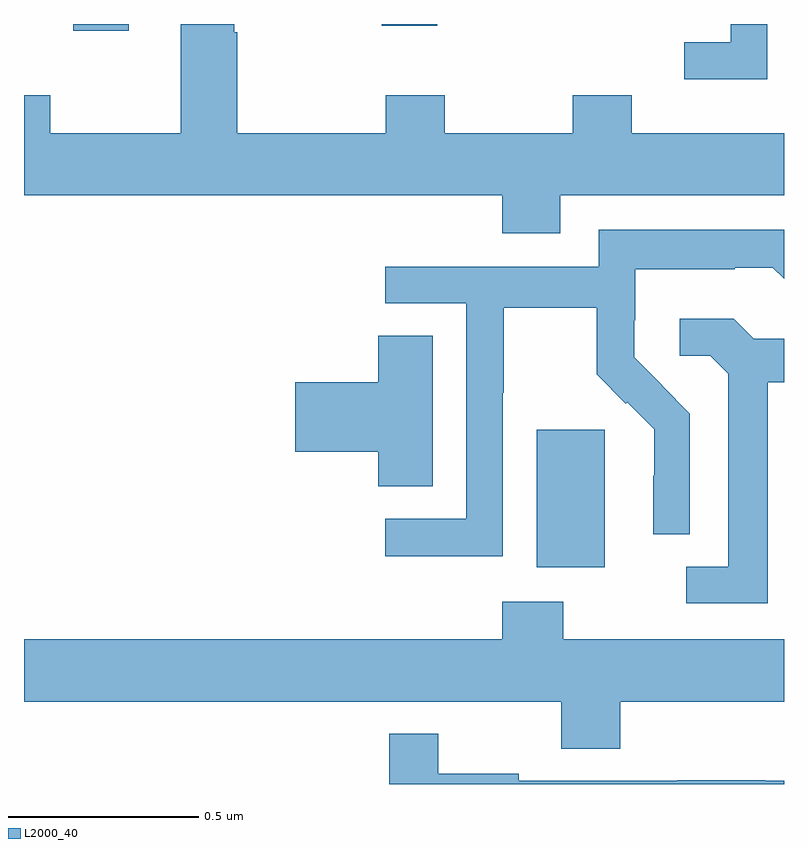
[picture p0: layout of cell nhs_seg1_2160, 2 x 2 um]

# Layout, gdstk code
import gdstk
lib = gdstk.Library(unit=1e-6, precision=1e-09)
def R(c, l, rs):  # rectangles x0, y0, x1, y1
    for r in rs: c.add(gdstk.rectangle(r[:2], r[2:], *l))
def P(c, l, *ps):  # polygons
    for p in ps: c.add(gdstk.Polygon(p, *l))
L2000_40 = (2000, 40)

nhs_seg1_2160 = lib.new_cell('nhs_seg1_2160')
R(nhs_seg1_2160, L2000_40, [(139.349,534.77,139.528,535.131), (138.129,536.181,138.276,536.199), (138.941,536.195,139.087,536.199)])
P(nhs_seg1_2160, L2000_40, [(139.956,536.199),(139.86,536.199),(139.86,536.151),(139.737,536.151),(139.737,536.054),(139.956,536.054)],
  [(138.952,536.011),(138.952,535.912),(138.561,535.912),(138.561,536.177),(138.553,536.177),(138.553,536.199),(138.413,536.199),(138.413,535.912),(138.069,535.912),(138.069,536.011),(138,536.011),(138,535.748),(139.259,535.748),(139.259,535.649),(139.411,535.649),(139.411,535.748),(140,535.748),(140,535.912),(139.599,535.912),(139.599,536.011),(139.444,536.011),(139.444,535.912),(139.107,535.912),(139.107,536.011)],
  [(139.26,535.228),(139.263,535.228),(139.263,535.452),(139.507,535.452),(139.507,535.277),(139.584,535.2),(139.587,535.203),(139.658,535.133),(139.658,535.01),(139.656,535.01),(139.656,534.856),(139.752,534.856),(139.752,535.174),(139.679,535.247),(139.68,535.248),(139.606,535.322),(139.606,535.419),(139.608,535.419),(139.608,535.553),(139.871,535.553),(139.871,535.557),(139.971,535.557),(140,535.528),(140,535.657),(139.512,535.657),(139.512,535.56),(138.951,535.56),(138.951,535.464),(139.164,535.464),(139.164,534.897),(138.951,534.897),(138.951,534.799),(139.26,534.799)],
  [(139.957,535.256),(140,535.256),(140,535.371),(139.92,535.371),(139.868,535.423),(139.725,535.423),(139.725,535.326),(139.806,535.326),(139.853,535.279),(139.853,534.771),(139.743,534.771),(139.743,534.675),(139.957,534.675)],
  [(139.075,535.379),(138.932,535.379),(138.932,535.256),(138.714,535.256),(138.714,535.073),(138.932,535.073),(138.932,534.982),(139.075,534.982)],
  [(139.569,534.416),(140,534.416),(140,534.58),(139.419,534.58),(139.419,534.679),(139.259,534.679),(139.259,534.58),(138,534.58),(138,534.416),(139.414,534.416),(139.414,534.292),(139.569,534.292)],
  [(140,534.207),(139.951,534.207),(139.951,534.209),(139.719,534.209),(139.719,534.207),(139.302,534.207),(139.302,534.226),(139.09,534.226),(139.09,534.331),(138.961,534.331),(138.961,534.199),(140,534.199)])

lib.write_gds('nhs_seg1_2160.gds')
